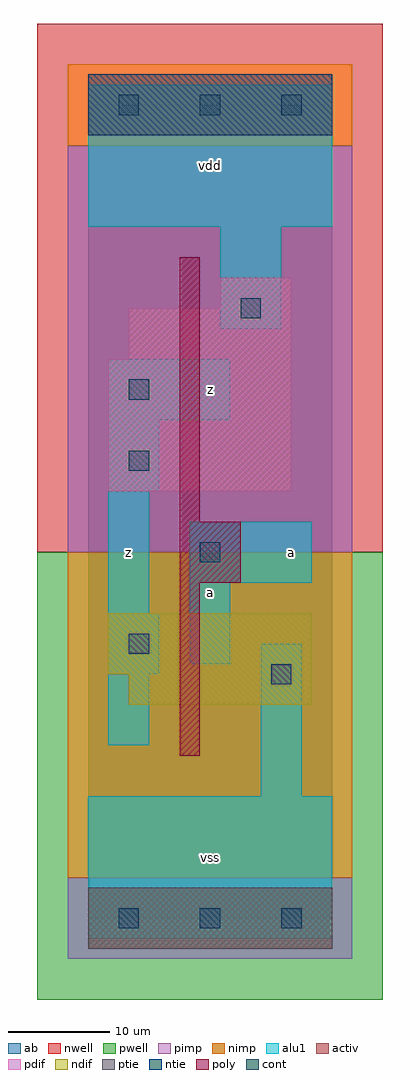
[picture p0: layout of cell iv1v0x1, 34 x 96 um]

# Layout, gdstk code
import gdstk
lib = gdstk.Library(unit=1e-6, precision=1e-09)
def R(c, l, rs):  # rectangles x0, y0, x1, y1
    for r in rs: c.add(gdstk.rectangle(r[:2], r[2:], *l))
def A(c, l, x, y, w, h, nx, ny, dx, dy):  # array of equal rectangles
    R(c, l, [(x+i*dx, y+j*dy, x+i*dx+w, y+j*dy+h) for i in range(nx) for j in range(ny)])
ndif = (3, 0)
pdif = (4, 0)
ntie = (5, 0)
ptie = (6, 0)
cont = (25, 0)
pwell = (41, 0)
nwell = (42, 0)
activ = (43, 0)
pimp = (44, 0)
nimp = (45, 0)
poly = (46, 0)
alu1 = (49, 0)
ab = (63, 0)

iv1v0x1 = lib.new_cell('iv1v0x1')
R(iv1v0x1, ndif, [(4,21,22,24), (2,24,22,30)])
R(iv1v0x1, pdif, [(2,42,20,55), (4,55,20,60), (13,60,20,63)])
R(iv1v0x1, ntie, [(0,77,24,83)])
R(iv1v0x1, ptie, [(0,-3,24,3)])
A(iv1v0x1, cont, 3, -1, 2, 2, 3, 2, 8, 80)
R(iv1v0x1, cont, [(18,23,20,25), (4,26,6,28), (11,35,13,37), (4,44,6,46), (4,51,6,53), (15,59,17,61)])
R(iv1v0x1, pwell, [(-5,-8,29,36)])
R(iv1v0x1, nwell, [(-5,36,29,88)])
R(iv1v0x1, activ, [(0,-3,24,3), (4,21,22,24), (2,24,22,30), (2,42,20,55), (4,55,20,60), (13,60,20,63), (0,77,24,83)])
R(iv1v0x1, pimp, [(-2,-4,26,4), (-2,36,26,76)])
R(iv1v0x1, nimp, [(-2,4,26,36), (-2,76,26,84)])
R(iv1v0x1, poly, [(9,16,11,33), (9,33,15,39), (9,39,11,65)])
R(iv1v0x1, alu1, [(0,-2,24,12), (17,12,21,27), (2,17,6,24), (2,24,7,30), (10,25,14,33), (2,30,6,42), (10,33,22,39), (2,42,7,49), (2,49,14,55), (13,58,19,68), (0,68,24,82)])
R(iv1v0x1, ab, [(0,0,24,80)])
iv1v0x1.add(gdstk.Label('z', (4,36), layer=49, texttype=0))
iv1v0x1.add(gdstk.Label('vss', (12,6), layer=49, texttype=0))
iv1v0x1.add(gdstk.Label('a', (12,32), layer=49, texttype=0))
iv1v0x1.add(gdstk.Label('z', (12,52), layer=49, texttype=0))
iv1v0x1.add(gdstk.Label('vdd', (12,74), layer=49, texttype=0))
iv1v0x1.add(gdstk.Label('a', (20,36), layer=49, texttype=0))

lib.write_gds('iv1v0x1.gds')
